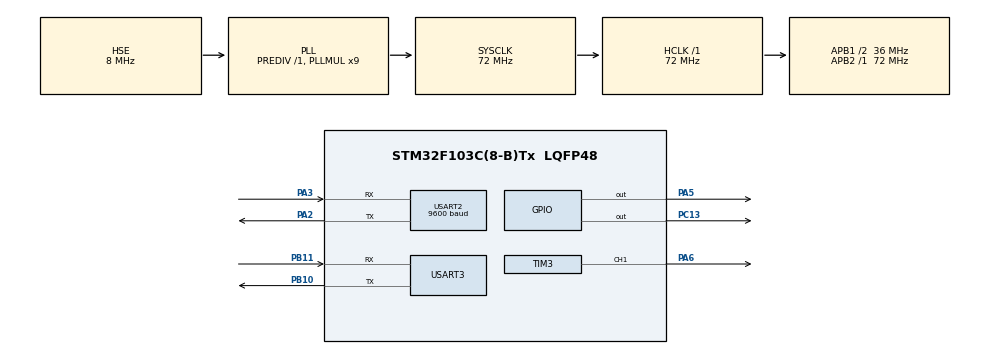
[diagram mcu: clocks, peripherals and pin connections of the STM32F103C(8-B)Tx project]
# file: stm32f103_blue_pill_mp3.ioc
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Mcu.Family=STM32F1
Mcu.Name=STM32F103C(8-B)Tx
Mcu.Package=LQFP48
NVIC.PriorityGroup=NVIC_PRIORITYGROUP_4
NVIC.USART2_IRQn=true\:0\:0\:false\:false\:true\:true\:true
NVIC.USART3_IRQn=true\:0\:0\:false\:false\:true\:true\:true
PA13.Mode=Serial_Wire
PA13.Signal=SYS_JTMS-SWDIO
PA14.Mode=Serial_Wire
PA14.Signal=SYS_JTCK-SWCLK
PA2.Mode=Asynchronous
PA2.Signal=USART2_TX
PA3.Mode=Asynchronous
PA3.Signal=USART2_RX
PA5.Signal=GPIO_Output
PA6.Signal=S_TIM3_CH1
PB10.Mode=Asynchronous
PB10.Signal=USART3_TX
PB11.Mode=Asynchronous
PB11.Signal=USART3_RX
PC13-TAMPER-RTC.PinState=GPIO_PIN_SET
PC13-TAMPER-RTC.Signal=GPIO_Output
PD0-OSC_IN.Mode=HSE-External-Oscillator
PD0-OSC_IN.Signal=RCC_OSC_IN
PD1-OSC_OUT.Mode=HSE-External-Oscillator
PD1-OSC_OUT.Signal=RCC_OSC_OUT
ProjectManager.HeapSize=0x200
ProjectManager.StackSize=0x400
ProjectManager.TargetToolchain=STM32CubeIDE
RCC.AHBFreq_Value=72000000
RCC.APB1CLKDivider=RCC_HCLK_DIV2
RCC.APB1Freq_Value=36000000
RCC.APB1TimFreq_Value=72000000
RCC.APB2Freq_Value=72000000
RCC.APB2TimFreq_Value=72000000
RCC.HCLKFreq_Value=72000000
RCC.PLLMUL=RCC_PLL_MUL9
RCC.PLLSourceVirtual=RCC_PLLSOURCE_HSE
RCC.SYSCLKFreq_VALUE=72000000
RCC.SYSCLKSource=RCC_SYSCLKSOURCE_PLLCLK
RCC.USBFreq_Value=72000000
SH.S_TIM3_CH1.0=TIM3_CH1,PWM Generation1 CH1
TIM3.Channel-PWM\ Generation1\ CH1=TIM_CHANNEL_1
TIM3.Period=999
TIM3.Prescaler=71
TIM3.Pulse-PWM\ Generation1\ CH1=50
USART2.BaudRate=9600
USART2.VirtualMode=VM_ASYNC
USART3.VirtualMode=VM_ASYNC
VP_TIM3_VS_ClockSourceINT.Mode=Internal
board=custom

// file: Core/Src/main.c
/* USER CODE BEGIN Header */
/**
  ******************************************************************************
  * @file           : main.c
  * @brief          : Main program body
  ******************************************************************************
  * @attention
  *
  * <h2><center>&copy; Copyright (c) 2020 STMicroelectronics.
  * All rights reserved.</center></h2>
  *
  * This software component is licensed by ST under BSD 3-Clause license,
  * the "License"; You may not use this file except in compliance with the
  * License. You may obtain a copy of the License at:
  *                        opensource.org/licenses/BSD-3-Clause
  *
  ******************************************************************************
  */
/* USER CODE END Header */

#include "main.h"

/* USER CODE BEGIN Includes */
#include "stdio.h"
#include "string.h"
/* USER CODE END Includes */

TIM_HandleTypeDef htim3;

UART_HandleTypeDef huart2;
UART_HandleTypeDef huart3;

void SystemClock_Config(void);
static void MX_GPIO_Init(void);
static void MX_USART2_UART_Init(void);
static void MX_USART3_UART_Init(void);
static void MX_TIM3_Init(void);

/* USER CODE BEGIN 0 */

//=====================FOR TRANSFER PRINTF TO UART=======================
int _write(int fd, char *ptr, int len) {
  HAL_UART_Transmit(&huart3, (uint8_t*) ptr, len, 0xFFFF);

  return len;
}
int _read(int fd, char *ptr, int len) {

  *ptr = 0x00; // Flush the character buffer

  HAL_UART_Receive(&huart3, (uint8_t*) ptr, 1, 0xFFFF);

  return 1;
}
////http://www.count-zero.ru/2016/stm32_uart/
//=====================END TRANSFER PRINTF TO UART=======================

/* USER CODE END 0 */

int main(void)
{

  /* MCU Configuration--------------------------------------------------------*/

  /* Reset of all peripherals, Initializes the Flash interface and the Systick. */
  HAL_Init();

  /* Configure the system clock */
  SystemClock_Config();

  /* Initialize all configured peripherals */
  MX_GPIO_Init();
  MX_USART2_UART_Init();
  MX_USART3_UART_Init();
  MX_TIM3_Init();
  /* USER CODE BEGIN 2 */
  HAL_TIM_PWM_Start(&htim3, TIM_CHANNEL_1);
  /* USER CODE END 2 */

  /* Infinite loop */
  /* USER CODE BEGIN WHILE */

  uint16_t i = 0;/*вообще это ужасная практика создание переменных, они должны объявляться
  как можно ближе к их спользованию, но так как бывают микроконтроллеры с очень маленькой
  памятью, и ВОЗМОЖНО, чтобы не тратить время на их создание, создают как бы глобальную
  переменную(в нашем случае видимость i ограничена областью функции main).
  Имена 'i' и 'j' исторически используются в цыклах, но и в цыклах более целесообразно
  их названия заменять на более понятные имена, чтобы при чтении кода было очень понятно за
  что она отвечает.
  Ниже будет два похожих цыкла, в последнем используется i, разница читабельности на лицо*/
  volatile uint16_t j = 0;
  char sendingStringByUart[255];

  /* вывод в uart значение предделителя системной частоты, значение счетчика периода и
   * значение для сравнения с четчиком периода.*/
  snprintf(sendingStringByUart, 255,
      "TIM->TIM prescaler register = %lu; "
      "TIM->TIM auto-reload register = %lu;© "
      "TIM3->TIM capture/compare register = %lu;\r\n",
      TIM3->PSC, TIM3->ARR, TIM3->CCR1);
  HAL_UART_Transmit(&huart3, (uint8_t*) sendingStringByUart, strlen(sendingStringByUart), 1000);

  /*вывод в uart значение системной частоты*/
  snprintf(sendingStringByUart, 255, "HAL_RCC_GetSysClockFreq () = %lu; \r\n",
      HAL_RCC_GetSysClockFreq());
  HAL_UART_Transmit(&huart3, (uint8_t*) sendingStringByUart, strlen(sendingStringByUart), 1000);

  uint16_t delayForChangingTimersSetting = 5000;/*оспользуется, чтобы создать мигание*/
  int bool = 0;/*используется как логическая переменная для смены параметров таймера*/

  while (1)
  {
    for (uint16_t compareValue = 0; compareValue <= (TIM3->ARR); compareValue++) {
      // сравнение с CounterPeriod(называют еще auto-reload register)
      /*
       * переменной 'i' будем задавать ширину заполнения ШИМ сигнала или можно назвать процент
       * заполнения, если рассматривать отношение '100% * i/(TIM3->ARR)'.
       *  ___
       * |   |___... заполнение 50%, тут 'compareValue'равна половине значения содержащегося
       * в регистре CounterPeriod(auto-reload register) compareValue=(TIM3->ARR)/2
       *
       *  _______
       * |       ... заполнение 100%
       *
       * */
      TIM3->CCR1 = compareValue;

      for (j = 0; j < delayForChangingTimersSetting; j++)
        __NOP();
      /*__NOP(); бездействие, наверно, это плохой способ, так как процессор, наверно, в этот тик
       * не может выполнять полезную работу, если, к примеру у нас все будет работать во FreeRTOS.
       * Во FreeRTOS есть для этого свои функции не блокирующие процессор, чтобы заменить этот цикл*/
    }

    snprintf(sendingStringByUart, 255,
        "TIM->TIM prescaler register = %lu; TIM->TIM auto-reload register = %lu; TIM3->TIM capture/compare register = %lu;\r\n",
        TIM3->PSC, TIM3->ARR, TIM3->CCR1);
    HAL_UART_Transmit(&huart3, (uint8_t*) sendingStringByUart, strlen(sendingStringByUart), 1000);

    for (i = TIM3->ARR; i > 0; i--) {
      TIM3->CCR1 = i;
      for (j = 0; j < delayForChangingTimersSetting; j++)
        __NOP();
    }
    snprintf(sendingStringByUart, 255,
        "TIM->TIM prescaler register = %lu; TIM->TIM auto-reload register = %lu; TIM3->TIM capture/compare register = %lu;\r\n",
        TIM3->PSC, TIM3->ARR, TIM3->CCR1);
    HAL_UART_Transmit(&huart3, (uint8_t*) sendingStringByUart, strlen(sendingStringByUart), 1000);

    if (bool) {
      bool = 0;
      TIM3->PSC = 7199; /*меняем prescaler таймера*/
      TIM3->ARR = 999; /*меняем CounterPeriod(называют еще auto-reload register)*/
      snprintf(sendingStringByUart, 255,
          "TIM->TIM prescaler register = %lu; TIM->TIM auto-reload register = %lu; TIM3->TIM capture/compare register = %lu;\r\n",
          TIM3->PSC, TIM3->ARR, TIM3->CCR1);
      HAL_UART_Transmit(&huart3, (uint8_t*) sendingStringByUart, strlen(sendingStringByUart), 1000);
    } else {
      bool = 1;
      TIM3->PSC = 71; /*меняем prescaler таймера*/
      TIM3->ARR = 999; /*меняем CounterPeriod(называют еще auto-reload register)*/
      snprintf(sendingStringByUart, 255,
          "TIM->TIM prescaler register = %lu; TIM->TIM auto-reload register = %lu; TIM3->TIM capture/compare register = %lu;\r\n",
          TIM3->PSC, TIM3->ARR, TIM3->CCR1);
      HAL_UART_Transmit(&huart3, (uint8_t*) sendingStringByUart, strlen(sendingStringByUart), 1000);
    }

    /* USER CODE END WHILE */

  }
}

void SystemClock_Config(void)
{
  RCC_OscInitTypeDef RCC_OscInitStruct = {0};
  RCC_ClkInitTypeDef RCC_ClkInitStruct = {0};

  /** Initializes the CPU, AHB and APB busses clocks
  */
  RCC_OscInitStruct.OscillatorType = RCC_OSCILLATORTYPE_HSE;
  RCC_OscInitStruct.HSEState = RCC_HSE_ON;
  RCC_OscInitStruct.HSEPredivValue = RCC_HSE_PREDIV_DIV1;
  RCC_OscInitStruct.HSIState = RCC_HSI_ON;
  RCC_OscInitStruct.PLL.PLLState = RCC_PLL_ON;
  RCC_OscInitStruct.PLL.PLLSource = RCC_PLLSOURCE_HSE;
  RCC_OscInitStruct.PLL.PLLMUL = RCC_PLL_MUL9;
  if (HAL_RCC_OscConfig(&RCC_OscInitStruct) != HAL_OK)
  {
    Error_Handler();
  }
  /** Initializes the CPU, AHB and APB busses clocks
  */
  RCC_ClkInitStruct.ClockType = RCC_CLOCKTYPE_HCLK|RCC_CLOCKTYPE_SYSCLK
                              |RCC_CLOCKTYPE_PCLK1|RCC_CLOCKTYPE_PCLK2;
  RCC_ClkInitStruct.SYSCLKSource = RCC_SYSCLKSOURCE_PLLCLK;
  RCC_ClkInitStruct.AHBCLKDivider = RCC_SYSCLK_DIV1;
  RCC_ClkInitStruct.APB1CLKDivider = RCC_HCLK_DIV2;
  RCC_ClkInitStruct.APB2CLKDivider = RCC_HCLK_DIV1;

  if (HAL_RCC_ClockConfig(&RCC_ClkInitStruct, FLASH_LATENCY_2) != HAL_OK)
  {
    Error_Handler();
  }
}

static void MX_TIM3_Init(void)
{

  TIM_ClockConfigTypeDef sClockSourceConfig = {0};
  TIM_MasterConfigTypeDef sMasterConfig = {0};
  TIM_OC_InitTypeDef sConfigOC = {0};

  htim3.Instance = TIM3;
  htim3.Init.Prescaler = 71;
  htim3.Init.CounterMode = TIM_COUNTERMODE_UP;
  htim3.Init.Period = 999;
  htim3.Init.ClockDivision = TIM_CLOCKDIVISION_DIV1;
  htim3.Init.AutoReloadPreload = TIM_AUTORELOAD_PRELOAD_DISABLE;
  if (HAL_TIM_Base_Init(&htim3) != HAL_OK)
  {
    Error_Handler();
  }
  sClockSourceConfig.ClockSource = TIM_CLOCKSOURCE_INTERNAL;
  if (HAL_TIM_ConfigClockSource(&htim3, &sClockSourceConfig) != HAL_OK)
  {
    Error_Handler();
  }
  if (HAL_TIM_PWM_Init(&htim3) != HAL_OK)
  {
    Error_Handler();
  }
  sMasterConfig.MasterOutputTrigger = TIM_TRGO_RESET;
  sMasterConfig.MasterSlaveMode = TIM_MASTERSLAVEMODE_DISABLE;
  if (HAL_TIMEx_MasterConfigSynchronization(&htim3, &sMasterConfig) != HAL_OK)
  {
    Error_Handler();
  }
  sConfigOC.OCMode = TIM_OCMODE_PWM1;
  sConfigOC.Pulse = 50;
  sConfigOC.OCPolarity = TIM_OCPOLARITY_HIGH;
  sConfigOC.OCFastMode = TIM_OCFAST_DISABLE;
  if (HAL_TIM_PWM_ConfigChannel(&htim3, &sConfigOC, TIM_CHANNEL_1) != HAL_OK)
  {
    Error_Handler();
  }
  HAL_TIM_MspPostInit(&htim3);

}

static void MX_USART2_UART_Init(void)
{

  huart2.Instance = USART2;
  huart2.Init.BaudRate = 9600;
  huart2.Init.WordLength = UART_WORDLENGTH_8B;
  huart2.Init.StopBits = UART_STOPBITS_1;
  huart2.Init.Parity = UART_PARITY_NONE;
  huart2.Init.Mode = UART_MODE_TX_RX;
  huart2.Init.HwFlowCtl = UART_HWCONTROL_NONE;
  huart2.Init.OverSampling = UART_OVERSAMPLING_16;
  if (HAL_UART_Init(&huart2) != HAL_OK)
  {
    Error_Handler();
  }

}

static void MX_USART3_UART_Init(void)
{

  huart3.Instance = USART3;
  huart3.Init.BaudRate = 115200;
  huart3.Init.WordLength = UART_WORDLENGTH_8B;
  huart3.Init.StopBits = UART_STOPBITS_1;
  huart3.Init.Parity = UART_PARITY_NONE;
  huart3.Init.Mode = UART_MODE_TX_RX;
  huart3.Init.HwFlowCtl = UART_HWCONTROL_NONE;
  huart3.Init.OverSampling = UART_OVERSAMPLING_16;
  if (HAL_UART_Init(&huart3) != HAL_OK)
  {
    Error_Handler();
  }

}

static void MX_GPIO_Init(void)
{
  GPIO_InitTypeDef GPIO_InitStruct = {0};

  /* GPIO Ports Clock Enable */
  __HAL_RCC_GPIOC_CLK_ENABLE();
  __HAL_RCC_GPIOD_CLK_ENABLE();
  __HAL_RCC_GPIOA_CLK_ENABLE();
  __HAL_RCC_GPIOB_CLK_ENABLE();

  /*Configure GPIO pin Output Level */
  HAL_GPIO_WritePin(GPIOC, GPIO_PIN_13, GPIO_PIN_SET);

  /*Configure GPIO pin Output Level */
  HAL_GPIO_WritePin(GPIOA, GPIO_PIN_5, GPIO_PIN_RESET);

  /*Configure GPIO pin : PC13 */
  GPIO_InitStruct.Pin = GPIO_PIN_13;
  GPIO_InitStruct.Mode = GPIO_MODE_OUTPUT_PP;
  GPIO_InitStruct.Pull = GPIO_NOPULL;
  GPIO_InitStruct.Speed = GPIO_SPEED_FREQ_LOW;
  HAL_GPIO_Init(GPIOC, &GPIO_InitStruct);

  /*Configure GPIO pin : PA5 */
  GPIO_InitStruct.Pin = GPIO_PIN_5;
  GPIO_InitStruct.Mode = GPIO_MODE_OUTPUT_PP;
  GPIO_InitStruct.Pull = GPIO_NOPULL;
  GPIO_InitStruct.Speed = GPIO_SPEED_FREQ_LOW;
  HAL_GPIO_Init(GPIOA, &GPIO_InitStruct);

}

void Error_Handler(void)
{
}

/************************ (C) COPYRIGHT STMicroelectronics *****END OF FILE****/
